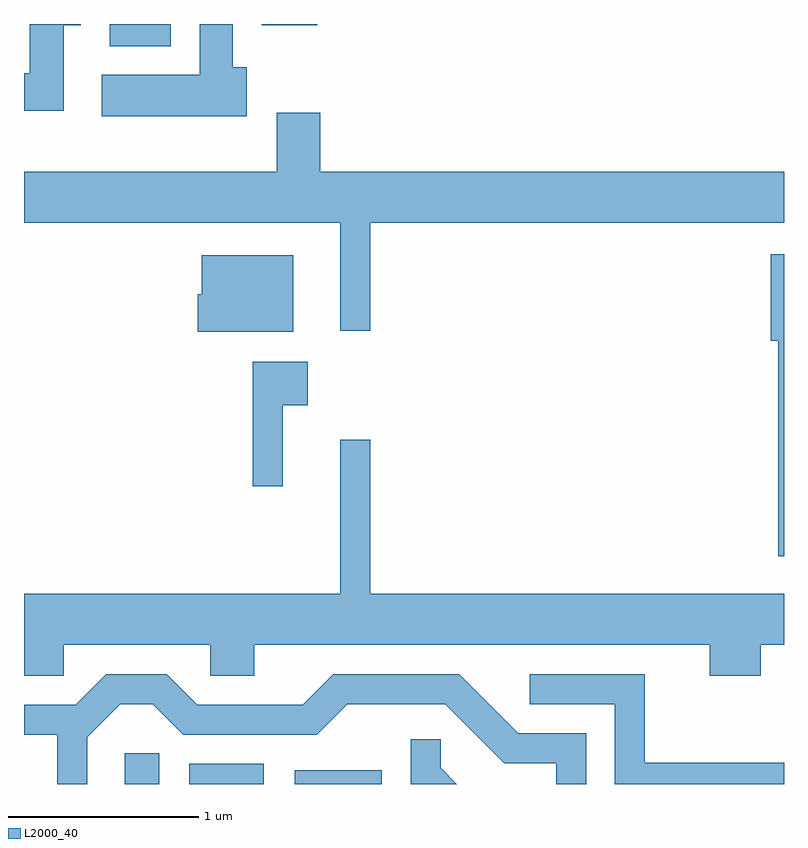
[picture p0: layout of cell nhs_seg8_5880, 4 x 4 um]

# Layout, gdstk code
import gdstk
lib = gdstk.Library(unit=1e-6, precision=1e-09)
def R(c, l, rs):  # rectangles x0, y0, x1, y1
    for r in rs: c.add(gdstk.rectangle(r[:2], r[2:], *l))
def P(c, l, *ps):  # polygons
    for p in ps: c.add(gdstk.Polygon(p, *l))
L2000_40 = (2000, 40)

nhs_seg8_5880 = lib.new_cell('nhs_seg8_5880')
R(nhs_seg8_5880, L2000_40, [(362.141,1842.342,362.324,1842.504), (362.481,1842.342,362.874,1842.449), (363.036,1842.342,363.494,1842.414), (362.061,1846.226,362.384,1846.342), (362.861,1846.336,363.154,1846.342)])
P(nhs_seg8_5880, L2000_40, [(361.819,1846.336),(361.909,1846.336),(361.909,1846.342),(361.641,1846.342),(361.641,1846.084),(361.611,1846.084),(361.611,1845.886),(361.819,1845.886)],
  [(362.784,1846.114),(362.709,1846.114),(362.709,1846.342),(362.536,1846.342),(362.536,1846.074),(362.021,1846.074),(362.021,1845.856),(362.784,1845.856)],
  [(363.276,1844.728),(363.434,1844.728),(363.434,1845.296),(365.611,1845.296),(365.611,1845.564),(363.169,1845.564),(363.169,1845.874),(362.941,1845.874),(362.941,1845.564),(361.611,1845.564),(361.611,1845.296),(363.276,1845.296)],
  [(365.611,1845.129),(365.541,1845.129),(365.541,1844.676),(365.581,1844.676),(365.581,1843.541),(365.611,1843.541)],
  [(363.029,1845.124),(362.546,1845.124),(362.546,1844.919),(362.526,1844.919),(362.526,1844.721),(363.029,1844.721)],
  [(362.974,1844.336),(363.104,1844.336),(363.104,1844.564),(362.816,1844.564),(362.816,1843.908),(362.974,1843.908)],
  [(361.819,1843.076),(362.591,1843.076),(362.591,1842.911),(362.824,1842.911),(362.824,1843.076),(365.221,1843.076),(365.221,1842.911),(365.489,1842.911),(365.489,1843.076),(365.611,1843.076),(365.611,1843.344),(363.434,1843.344),(363.434,1844.153),(363.276,1844.153),(363.276,1843.344),(361.611,1843.344),(361.611,1842.911),(361.819,1842.911)],
  [(365.611,1842.454),(364.879,1842.454),(364.879,1842.919),(364.273,1842.919),(364.273,1842.761),(364.721,1842.761),(364.721,1842.342),(365.611,1842.342)],
  [(361.944,1842.589),(362.117,1842.761),(362.289,1842.761),(362.449,1842.601),(363.152,1842.601),(363.312,1842.761),(363.829,1842.761),(364.139,1842.451),(364.411,1842.451),(364.411,1842.342),(364.569,1842.342),(364.569,1842.609),(364.212,1842.609),(363.902,1842.919),(363.239,1842.919),(363.079,1842.759),(362.522,1842.759),(362.362,1842.919),(362.044,1842.919),(361.884,1842.759),(361.611,1842.759),(361.611,1842.601),(361.786,1842.601),(361.786,1842.342),(361.944,1842.342)],
  [(363.804,1842.427),(363.804,1842.578),(363.646,1842.578),(363.646,1842.342),(363.889,1842.342)])

lib.write_gds('nhs_seg8_5880.gds')
